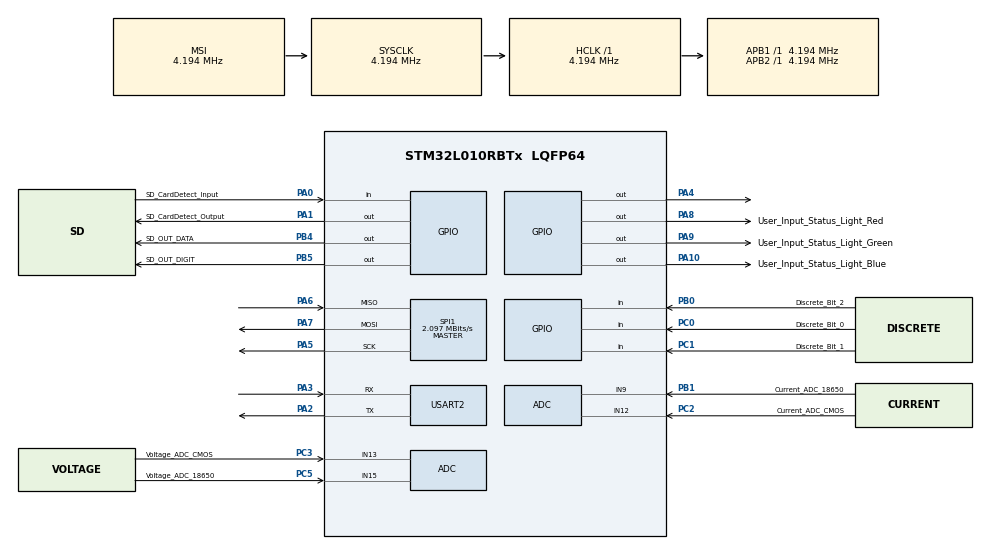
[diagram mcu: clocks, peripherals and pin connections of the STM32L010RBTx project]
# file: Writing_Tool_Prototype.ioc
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ADC.ClockPrescaler=ADC_CLOCK_SYNC_PCLK_DIV4
ADC.ContinuousConvMode=ENABLE
ADC.DiscontinuousConvMode=DISABLE
ADC.EOCSelection=ADC_EOC_SINGLE_CONV
ADC.Overrun=ADC_OVR_DATA_PRESERVED
ADC.OversamplingMode=DISABLE
ADC.SamplingTime=ADC_SAMPLETIME_160CYCLES_5
FATFS._MAX_SS=4096
FATFS._USE_LFN=1
Mcu.Family=STM32L0
Mcu.Name=STM32L010RBTx
Mcu.Package=LQFP64
PA0.GPIO_Label=SD_CardDetect_Input
PA0.Signal=GPIO_Input
PA1.GPIO_Label=SD_CardDetect_Output
PA1.Signal=GPIO_Output
PA10.GPIO_Label=User_Input_Status_Light_Blue
PA10.Signal=GPIO_Output
PA2.Mode=Asynchronous
PA2.Signal=USART2_TX
PA3.Mode=Asynchronous
PA3.Signal=USART2_RX
PA4.Signal=GPIO_Output
PA5.Mode=Full_Duplex_Master
PA5.Signal=SPI1_SCK
PA6.Mode=Full_Duplex_Master
PA6.Signal=SPI1_MISO
PA7.Mode=Full_Duplex_Master
PA7.Signal=SPI1_MOSI
PA8.GPIO_Label=User_Input_Status_Light_Red
PA8.Signal=GPIO_Output
PA9.GPIO_Label=User_Input_Status_Light_Green
PA9.Signal=GPIO_Output
PB0.GPIO_Label=Discrete_Bit_2
PB0.Signal=GPIO_Input
PB1.GPIO_Label=Current_ADC_18650
PB1.Mode=IN9
PB1.Signal=ADC_IN9
PB4.GPIO_Label=SD_OUT_DATA
PB4.Signal=GPIO_Output
PB5.GPIO_Label=SD_OUT_DIGIT
PB5.Signal=GPIO_Output
PC0.GPIO_Label=Discrete_Bit_0
PC0.Signal=GPIO_Input
PC1.GPIO_Label=Discrete_Bit_1
PC1.Signal=GPIO_Input
PC2.GPIO_Label=Current_ADC_CMOS
PC2.Mode=IN12
PC2.Signal=ADC_IN12
PC3.GPIO_Label=Voltage_ADC_CMOS
PC3.Mode=IN13
PC3.Signal=ADC_IN13
PC5.GPIO_Label=Voltage_ADC_18650
PC5.Mode=IN15
PC5.Signal=ADC_IN15
ProjectManager.HeapSize=0x200
ProjectManager.StackSize=0x400
ProjectManager.TargetToolchain=STM32CubeIDE
RCC.AHBFreq_Value=4194000
RCC.APB1Freq_Value=4194000
RCC.APB1TimFreq_Value=4194000
RCC.APB2Freq_Value=4194000
RCC.APB2TimFreq_Value=4194000
RCC.HCLKFreq_Value=4194000
RCC.HSE_VALUE=8000000
RCC.HSI16_VALUE=16000000
RCC.HSI_VALUE=16000000
RCC.LSE_VALUE=32768
RCC.MSIClockRange=RCC_MSIRANGE_6
RCC.MSI_VALUE=4194000
RCC.PLLMUL=RCC_PLLMUL_4
RCC.SYSCLKFreq_VALUE=4194000
RCC.VCOOutputFreq_Value=64000000
SPI1.CalculateBaudRate=2.097 MBits/s
SPI1.Direction=SPI_DIRECTION_2LINES
SPI1.Mode=SPI_MODE_MASTER
SPI1.VirtualType=VM_MASTER
USART2.VirtualMode-Asynchronous=VM_ASYNC
VP_FATFS_VS_Generic.Mode=User_defined
board=custom

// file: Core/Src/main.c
/* USER CODE BEGIN Header */
/**
 ******************************************************************************
 * @file           : main.c
 * @brief          : Main program body
 ******************************************************************************
 * @attention
 *
 * Copyright (c) 2023 STMicroelectronics.
 * All rights reserved.
 *
 * This software is licensed under terms that can be found in the LICENSE file
 * in the root directory of this software component.
 * If no LICENSE file comes with this software, it is provided AS-IS.
 *
 ******************************************************************************
 */
/* USER CODE END Header */
#include "main.h"
#include "fatfs.h"

/* USER CODE BEGIN Includes */
#include <stdbool.h>
#include <stdio.h>
#include <string.h>
/* USER CODE END Includes */

ADC_HandleTypeDef hadc;

SPI_HandleTypeDef hspi1;

UART_HandleTypeDef huart2;

void SystemClock_Config(void);
static void MX_GPIO_Init(void);
static void MX_SPI1_Init(void);
static void MX_ADC_Init(void);
static void MX_USART2_UART_Init(void);
/* USER CODE BEGIN PFP */
void Measurement_of_ADC_Voltage_18650();
void Measurement_of_ADC_Voltage_CMOS();
void Measurement_of_ADC_Current_CMOS();
void Measurement_of_ADC_Current_18650();
void Measurement_of_Load_Voltage();
void process_SD_card(void);
void ADC_Select_Voltage18650();
void ADC_Select_VoltageCMOS();
void ADC_Select_Current18650();
void ADC_Select_CurrentCMOS();
void ADC_Select_Load_Voltage();
void readNumber();
int write_num = 0;
float Convert_Measurement_of_ADC_Voltage_DiffAmp_to_Current_18650(float V_DiffAmp, int state);
float Convert_Measurement_of_ADC_Voltage_DiffAmp_to_Current_CMOS(float V_DiffAmp, int state);
int read_SD(void);
void communicate_value(int number);

float V_18650 = 0.0f;
float V_CMOS = 0.0f;
float V_DiffAmp_18650 = 0.0f;
float V_DiffAmp_CMOS = 0.0f;
float C_CMOS = 0.0f;
float C_18650 = 0.0f;
float Load_Voltage = 0.0f;
int i, j;
unsigned int Switch_State = 0;
float seconds_since_start = 0.0f;
uint32_t start_time_ms = 0;
int valueToAdjust = 0;  // Integer value to be adjusted

/* USER CODE END PFP */

int main(void)
{

  /* MCU Configuration--------------------------------------------------------*/

  /* Reset of all peripherals, Initializes the Flash interface and the Systick. */
  HAL_Init();

  /* Configure the system clock */
  SystemClock_Config();

  /* Initialize all configured peripherals */
  MX_GPIO_Init();
  MX_SPI1_Init();
  MX_FATFS_Init();
  MX_ADC_Init();
  MX_USART2_UART_Init();
  /* USER CODE BEGIN 2 */
  int number = read_SD();
  communicate_value(number);
  HAL_Delay(2000);

   char msg[128];
   start_time_ms = HAL_GetTick();
   HAL_ADCEx_Calibration_Start(&hadc, ADC_SINGLE_ENDED);
  /* USER CODE END 2 */

  /* Infinite loop */
  /* USER CODE BEGIN WHILE */
   while (1) {
      if (HAL_GPIO_ReadPin(SD_CardDetect_Input_GPIO_Port, SD_CardDetect_Input_Pin) == GPIO_PIN_SET) {
         HAL_GPIO_WritePin(SD_CardDetect_Output_GPIO_Port, SD_CardDetect_Output_Pin, GPIO_PIN_SET);
         uint32_t current_time_ms = HAL_GetTick();
         seconds_since_start = (current_time_ms - start_time_ms) / 1000.0f;
         readNumber();
         Measurement_of_ADC_Voltage_18650();
         Measurement_of_ADC_Voltage_CMOS();
         Measurement_of_ADC_Current_CMOS();
         Measurement_of_ADC_Current_18650();
         Measurement_of_Load_Voltage();
         C_CMOS = Convert_Measurement_of_ADC_Voltage_DiffAmp_to_Current_CMOS(V_DiffAmp_CMOS, valueToAdjust);
         C_18650 = Convert_Measurement_of_ADC_Voltage_DiffAmp_to_Current_18650(V_DiffAmp_18650, valueToAdjust);

         process_SD_card();
         sprintf(msg, "%.3f,%.3f,%.5f,%.3f,%.5f,%d,%d\r\n",
             		  seconds_since_start, //time (in seconds)
         			  V_18650,		  // 18650 Voltage
                       C_18650,        // 18650 Current
                       V_CMOS,         // CMOS Voltage
         			  C_CMOS,         // CMOS Current
                       valueToAdjust,  // Threshold

         			  write_num);//Total number of measurements
               HAL_UART_Transmit(&huart2, (uint8_t *)msg, strlen(msg), HAL_MAX_DELAY);
      } else {
         HAL_GPIO_WritePin(SD_CardDetect_Output_GPIO_Port, SD_CardDetect_Output_Pin, GPIO_PIN_RESET);
      }
    /* USER CODE END WHILE */

    /* USER CODE BEGIN 3 */
      write_num++;
   }
  /* USER CODE END 3 */
}

void SystemClock_Config(void)
{
  RCC_OscInitTypeDef RCC_OscInitStruct = {0};
  RCC_ClkInitTypeDef RCC_ClkInitStruct = {0};
  RCC_PeriphCLKInitTypeDef PeriphClkInit = {0};

  /** Configure the main internal regulator output voltage
  */
  __HAL_PWR_VOLTAGESCALING_CONFIG(PWR_REGULATOR_VOLTAGE_SCALE1);

  /** Initializes the RCC Oscillators according to the specified parameters
  * in the RCC_OscInitTypeDef structure.
  */
  RCC_OscInitStruct.OscillatorType = RCC_OSCILLATORTYPE_MSI;
  RCC_OscInitStruct.MSIState = RCC_MSI_ON;
  RCC_OscInitStruct.MSICalibrationValue = 0;
  RCC_OscInitStruct.MSIClockRange = RCC_MSIRANGE_6;
  RCC_OscInitStruct.PLL.PLLState = RCC_PLL_NONE;
  if (HAL_RCC_OscConfig(&RCC_OscInitStruct) != HAL_OK)
  {
    Error_Handler();
  }

  /** Initializes the CPU, AHB and APB buses clocks
  */
  RCC_ClkInitStruct.ClockType = RCC_CLOCKTYPE_HCLK|RCC_CLOCKTYPE_SYSCLK
                              |RCC_CLOCKTYPE_PCLK1|RCC_CLOCKTYPE_PCLK2;
  RCC_ClkInitStruct.SYSCLKSource = RCC_SYSCLKSOURCE_MSI;
  RCC_ClkInitStruct.AHBCLKDivider = RCC_SYSCLK_DIV1;
  RCC_ClkInitStruct.APB1CLKDivider = RCC_HCLK_DIV1;
  RCC_ClkInitStruct.APB2CLKDivider = RCC_HCLK_DIV1;

  if (HAL_RCC_ClockConfig(&RCC_ClkInitStruct, FLASH_LATENCY_0) != HAL_OK)
  {
    Error_Handler();
  }
  PeriphClkInit.PeriphClockSelection = RCC_PERIPHCLK_USART2;
  PeriphClkInit.Usart2ClockSelection = RCC_USART2CLKSOURCE_PCLK1;
  if (HAL_RCCEx_PeriphCLKConfig(&PeriphClkInit) != HAL_OK)
  {
    Error_Handler();
  }
}

static void MX_ADC_Init(void)
{

  ADC_ChannelConfTypeDef sConfig = {0};

  /** Configure the global features of the ADC (Clock, Resolution, Data Alignment and number of conversion)
  */
  hadc.Instance = ADC1;
  hadc.Init.OversamplingMode = DISABLE;
  hadc.Init.ClockPrescaler = ADC_CLOCK_SYNC_PCLK_DIV4;
  hadc.Init.Resolution = ADC_RESOLUTION_12B;
  hadc.Init.SamplingTime = ADC_SAMPLETIME_160CYCLES_5;
  hadc.Init.ScanConvMode = ADC_SCAN_DIRECTION_FORWARD;
  hadc.Init.DataAlign = ADC_DATAALIGN_RIGHT;
  hadc.Init.ContinuousConvMode = ENABLE;
  hadc.Init.DiscontinuousConvMode = DISABLE;
  hadc.Init.ExternalTrigConvEdge = ADC_EXTERNALTRIGCONVEDGE_NONE;
  hadc.Init.ExternalTrigConv = ADC_SOFTWARE_START;
  hadc.Init.DMAContinuousRequests = DISABLE;
  hadc.Init.EOCSelection = ADC_EOC_SINGLE_CONV;
  hadc.Init.Overrun = ADC_OVR_DATA_PRESERVED;
  hadc.Init.LowPowerAutoWait = DISABLE;
  hadc.Init.LowPowerFrequencyMode = ENABLE;
  hadc.Init.LowPowerAutoPowerOff = DISABLE;
  if (HAL_ADC_Init(&hadc) != HAL_OK)
  {
    Error_Handler();
  }

  /** Configure for the selected ADC regular channel to be converted.
  */
  sConfig.Channel = ADC_CHANNEL_9;
  sConfig.Rank = ADC_RANK_CHANNEL_NUMBER;
  if (HAL_ADC_ConfigChannel(&hadc, &sConfig) != HAL_OK)
  {
    Error_Handler();
  }

  /** Configure for the selected ADC regular channel to be converted.
  */
  sConfig.Channel = ADC_CHANNEL_12;
  if (HAL_ADC_ConfigChannel(&hadc, &sConfig) != HAL_OK)
  {
    Error_Handler();
  }

  /** Configure for the selected ADC regular channel to be converted.
  */
  sConfig.Channel = ADC_CHANNEL_13;
  if (HAL_ADC_ConfigChannel(&hadc, &sConfig) != HAL_OK)
  {
    Error_Handler();
  }

  /** Configure for the selected ADC regular channel to be converted.
  */
  sConfig.Channel = ADC_CHANNEL_15;
  if (HAL_ADC_ConfigChannel(&hadc, &sConfig) != HAL_OK)
  {
    Error_Handler();
  }

}

static void MX_SPI1_Init(void)
{

  /* SPI1 parameter configuration*/
  hspi1.Instance = SPI1;
  hspi1.Init.Mode = SPI_MODE_MASTER;
  hspi1.Init.Direction = SPI_DIRECTION_2LINES;
  hspi1.Init.DataSize = SPI_DATASIZE_8BIT;
  hspi1.Init.CLKPolarity = SPI_POLARITY_LOW;
  hspi1.Init.CLKPhase = SPI_PHASE_1EDGE;
  hspi1.Init.NSS = SPI_NSS_SOFT;
  hspi1.Init.BaudRatePrescaler = SPI_BAUDRATEPRESCALER_2;
  hspi1.Init.FirstBit = SPI_FIRSTBIT_MSB;
  hspi1.Init.TIMode = SPI_TIMODE_DISABLE;
  hspi1.Init.CRCCalculation = SPI_CRCCALCULATION_DISABLE;
  hspi1.Init.CRCPolynomial = 7;
  if (HAL_SPI_Init(&hspi1) != HAL_OK)
  {
    Error_Handler();
  }

}

static void MX_USART2_UART_Init(void)
{

  huart2.Instance = USART2;
  huart2.Init.BaudRate = 115200;
  huart2.Init.WordLength = UART_WORDLENGTH_8B;
  huart2.Init.StopBits = UART_STOPBITS_1;
  huart2.Init.Parity = UART_PARITY_NONE;
  huart2.Init.Mode = UART_MODE_TX_RX;
  huart2.Init.HwFlowCtl = UART_HWCONTROL_NONE;
  huart2.Init.OverSampling = UART_OVERSAMPLING_16;
  huart2.Init.OneBitSampling = UART_ONE_BIT_SAMPLE_DISABLE;
  huart2.AdvancedInit.AdvFeatureInit = UART_ADVFEATURE_NO_INIT;
  if (HAL_UART_Init(&huart2) != HAL_OK)
  {
    Error_Handler();
  }

}

static void MX_GPIO_Init(void)
{
  GPIO_InitTypeDef GPIO_InitStruct = {0};

  /* GPIO Ports Clock Enable */
  __HAL_RCC_GPIOC_CLK_ENABLE();
  __HAL_RCC_GPIOA_CLK_ENABLE();
  __HAL_RCC_GPIOB_CLK_ENABLE();

  /*Configure GPIO pin Output Level */
  HAL_GPIO_WritePin(GPIOA, SD_CardDetect_Output_Pin|GPIO_PIN_4|User_Input_Status_Light_Red_Pin|User_Input_Status_Light_Green_Pin
                          |User_Input_Status_Light_Blue_Pin, GPIO_PIN_RESET);

  /*Configure GPIO pin Output Level */
  HAL_GPIO_WritePin(GPIOB, SD_OUT_DATA_Pin|SD_OUT_DIGIT_Pin, GPIO_PIN_RESET);

  /*Configure GPIO pins : Discrete_Bit_0_Pin Discrete_Bit_1_Pin */
  GPIO_InitStruct.Pin = Discrete_Bit_0_Pin|Discrete_Bit_1_Pin;
  GPIO_InitStruct.Mode = GPIO_MODE_INPUT;
  GPIO_InitStruct.Pull = GPIO_NOPULL;
  HAL_GPIO_Init(GPIOC, &GPIO_InitStruct);

  /*Configure GPIO pin : SD_CardDetect_Input_Pin */
  GPIO_InitStruct.Pin = SD_CardDetect_Input_Pin;
  GPIO_InitStruct.Mode = GPIO_MODE_INPUT;
  GPIO_InitStruct.Pull = GPIO_NOPULL;
  HAL_GPIO_Init(SD_CardDetect_Input_GPIO_Port, &GPIO_InitStruct);

  /*Configure GPIO pins : SD_CardDetect_Output_Pin PA4 User_Input_Status_Light_Red_Pin User_Input_Status_Light_Green_Pin
                           User_Input_Status_Light_Blue_Pin */
  GPIO_InitStruct.Pin = SD_CardDetect_Output_Pin|GPIO_PIN_4|User_Input_Status_Light_Red_Pin|User_Input_Status_Light_Green_Pin
                          |User_Input_Status_Light_Blue_Pin;
  GPIO_InitStruct.Mode = GPIO_MODE_OUTPUT_PP;
  GPIO_InitStruct.Pull = GPIO_NOPULL;
  GPIO_InitStruct.Speed = GPIO_SPEED_FREQ_LOW;
  HAL_GPIO_Init(GPIOA, &GPIO_InitStruct);

  /*Configure GPIO pin : Discrete_Bit_2_Pin */
  GPIO_InitStruct.Pin = Discrete_Bit_2_Pin;
  GPIO_InitStruct.Mode = GPIO_MODE_INPUT;
  GPIO_InitStruct.Pull = GPIO_NOPULL;
  HAL_GPIO_Init(Discrete_Bit_2_GPIO_Port, &GPIO_InitStruct);

  /*Configure GPIO pins : SD_OUT_DATA_Pin SD_OUT_DIGIT_Pin */
  GPIO_InitStruct.Pin = SD_OUT_DATA_Pin|SD_OUT_DIGIT_Pin;
  GPIO_InitStruct.Mode = GPIO_MODE_OUTPUT_PP;
  GPIO_InitStruct.Pull = GPIO_NOPULL;
  GPIO_InitStruct.Speed = GPIO_SPEED_FREQ_LOW;
  HAL_GPIO_Init(GPIOB, &GPIO_InitStruct);

}

/* USER CODE BEGIN 4 */
#ifdef __GNUC__
/* With GCC, small printf (option LD Linker->Libraries->Small printf
   set to 'Yes') calls __io_putchar() */
int __io_putchar(int ch)
#else
int fputc(int ch, FILE *f)
#endif /* __GNUC__ */
{
   /* Place your implementation of fputc here */
   /* e.g. write a character to the UART3 and Loop until the end of transmission
    */
   // HAL_UART_Transmit(&huart2, (uint8_t *)&ch, 1, HAL_MAX_DELAY);
   return ch;
}

/*
 * process_SD_card() allows stored values to be written to the SD card using the FAT32 file system under
 * the FATFS library. It does so using the following basic steps:
 * 1) Mount the SD card
 * 2) Create the file or append to it if it already exists
 * 3) Create a string buffer that stores all measurements as comma-separated values
 * 4) Write to the SD card and then close the file
 * 5) Dismount the SD card
 *
 * Note: The ACT light on the SD card breakout board should be flickering if functioning properly. It is
 *       not working properly when the light either stays ON or stays OFF. In that case, check that the
 *       breakout board is correctly wired.
 */
void process_SD_card(void) {
   FATFS FatFs;   // Fatfs handle
   FIL fil;       // File handle
   FRESULT fres;  // Result after operations

   // Buffer for storing the complete string to write
   char writeBuffer[500];  // Adjust the size based on your needs

   // Attempt to mount the SD Card
   fres = f_mount(&FatFs, "", 1);  // 1=mount now
   if (fres != FR_OK) return;      // Exit if fail to mount

   // Open or create the file and append data
   fres = f_open(&fil, "Readings.csv", FA_WRITE | FA_READ | FA_OPEN_APPEND);
   if (fres != FR_OK) {
      f_mount(NULL, "", 0);  // Dismount the SD card if fail to open
      return;                // Exit if fail to open/create the file
   }

   // Prepare the data string
   snprintf(writeBuffer, sizeof(writeBuffer), "%.3f,%.3f,%.5f,%.3f,%.5f,%.3f,%d,%d,\n",
            seconds_since_start,  // Time
            V_18650,              // 18650 Voltage
            C_18650,              // 18650 Current
            V_CMOS,               // CMOS Voltage
            C_CMOS,
			Load_Voltage,// CMOS Current
            valueToAdjust,
			write_num);       // Switch State

   // Write the prepared string to the file
   f_puts(writeBuffer, &fil);

   // Close the file to ensure data is written to the SD card
   f_close(&fil);

   // Dismount the SD card
   f_mount(NULL, "", 0);
}

/*
 * read_SD() checks if there is a custom threshold switching value written on the SD card in "config.txt" and returns
 * the value converted from a String to a integer. If there is no file, this function will return a 0.
 *
 * NOTE: If the file is present, this function will attempt to read regardless of actual content. Assumes the value is
 * given as whole numbers, in mA, and up to four digits (between 0 - 2000 mA) for communicate_vlaue() to function
 * properly.
 *
 * @return an integer that represents the the custom switching threshold value in mA. Will return 0 if file does not
 * exist
 */
int read_SD(void)
{
	FATFS FatFs;   // Fatfs handle
	   FIL fil;       // File handle
	   FRESULT fres;  // Result after operations

	   // Buffer for storing the complete string to read
	   char readBuffer[6];  // Adjust the size based on your needs

	   // Attempt to mount the SD Card
	   fres = f_mount(&FatFs, "", 1);  // 1=mount now
	   if (fres != FR_OK) return 0;      // Exit if fail to mount

	   // Open or create the file and append data
	   fres = f_open(&fil, "config.txt", FA_READ);
	   if (fres != FR_OK)
	   {
	      f_mount(NULL, "", 0);  // Dismount the SD card if fail to open
	      return 0;                // Exit if fail to open the file
	   }

	   f_gets(readBuffer, sizeof(readBuffer), &fil); //store read values to string buffer

	   // Close the file
	   f_close(&fil);

	   // Dismount the SD card
	   f_mount(NULL, "", 0);

	   return atoi(readBuffer);

}//end of read_SD()

/*
 * communicate_value(number) sends the value given by number to be read by the Switching board (typically, read_SD()).
 *  If the number to be sent is greater than zero, it will cycle through each of the decimal places until the number
 *  is complete and/or when it reaches 4 digits. Each cycle will %10 to obtain the last digit of the number. If that
 *  value is greater than 0, then toggle the DATA pin [digit] amount of times. When the decimal "place" is complete,
 *  the DIGIT pin is toggled and the number is now set to number/10 to reduce the number by a factor of 10 and repeats
 *  through the function until either all numbers have been read or the number of decimal "places" read = 4.
 *
 * For example, if the number was 1234:
 *
 * digit = 1234%10 = 4
 * Toggle DATA pin 4 times (DATA pin output: 10101010)
 * Toggle DIGIT pin        (Digit pin output:        10)
 * number = 1234/10 = 123
 * NEXT PLACE! (place = 1)
 *
 * digit = 123%10 = 3
 * Toggle DATA pin 3 times (DATA pin output: 101010)
 * Toggle DIGIT pin        (Digit pin output:      10)
 * number = 123/10 = 12
 * NEXT PLACE! (place = 2)
 *
 * digit = 12%10 = 2
 * Toggle DATA pin 2 times (DATA pin output: 1010)
 * Toggle DIGIT pin        (Digit pin output:    10)
 * number = 12/10 = 1
 * NEXT PLACE! (place = 3)
 *
 * digit = 1%10 = 1
 * Toggle DATA pin 1 times (DATA pin output: 10)
 * Toggle DIGIT pin        (Digit pin output:  10)
 * number = 1/10 = 0
 * Exit (place = 4)
 *
 * Uninterrupted output will look like the following:
 *                   4       3     2   1
 * DATA pin: 1010101000101010001010001000
 * DIGIT pin:0000000010000000100000100010
 *
 * @param: number is an integer that represents the threshold value between 0 - 9999 to be sent from the Writing
 * board to the Switching board (typically obtained from read_SD())
 *
 */
void communicate_value(int number)
{
	int place = 0;

	if(number > 0) //if the given number is greater than zero
	{
		while(place < 4)//while the number of "places" (1's, 10's, 100's, 1000's place) sent out is less than 4 (starting at 0 for a total of 4 digits)
		{
			int digit = number%10; //get the last digit of the given number

			while(digit > 0)
			{
				// Set Red
				HAL_GPIO_WritePin(GPIOB, SD_OUT_DATA_Pin, GPIO_PIN_SET); //Send "1" on data pin
				HAL_Delay(7);
				HAL_GPIO_WritePin(GPIOB, SD_OUT_DATA_Pin, GPIO_PIN_RESET);//Send "0" on data pin
				HAL_Delay(5);
				digit--;
			}//digit finished sending

			// Set Green
			HAL_GPIO_WritePin(GPIOB, SD_OUT_DIGIT_Pin, GPIO_PIN_SET);//Send "1" on digit pin
			HAL_Delay(7);
			HAL_GPIO_WritePin(GPIOB, SD_OUT_DIGIT_Pin, GPIO_PIN_RESET);//Send "0" on digit pin
			HAL_Delay(5);

			number = number/10; //set the number to be a factor of 10 less (if number was 1000, number is now 100)
			place++; //indicates the "place" of the number has increased to the next "place"
		}

	}
	else //otherwise send that the number is 0
	{
		while(place < 4)
		{
			HAL_GPIO_WritePin(GPIOB, SD_OUT_DIGIT_Pin, GPIO_PIN_SET);//Send "1" on digit pin
			HAL_Delay(7);
			HAL_GPIO_WritePin(GPIOB, SD_OUT_DIGIT_Pin, GPIO_PIN_RESET);//Send "0" on digit pin
			HAL_Delay(5);

			place++;
		}
		// Set Blue
				      HAL_GPIO_WritePin(User_Input_Status_Light_Red_GPIO_Port, User_Input_Status_Light_Red_Pin,
				                        GPIO_PIN_RESET);
				      HAL_GPIO_WritePin(User_Input_Status_Light_Green_GPIO_Port, User_Input_Status_Light_Green_Pin,
				                        GPIO_PIN_RESET);
				      HAL_GPIO_WritePin(User_Input_Status_Light_Blue_GPIO_Port, User_Input_Status_Light_Blue_Pin,
				                        GPIO_PIN_SET);
		return;
	}

}

//**************************************** START OF ADC-RELATED FUNCTIONS ****************************************//

/*
 * Measurement_of_ADC functions perform ADC measurements and conversions for each respective channel. This
 * is done with the following steps:
 * 1) Select the respective ADC channel register using CHSELR (uses standard STM bit-masking)
 * 2) Select the respective ADC channel (using the respective ADC_Select function)
 * 3) Start the ADC
 * 4) Read the raw value
 * 5) Convert to respective measurement units and store to respective global variable
 * 6) Stop the ADC
 *
 * NOTE: Some of the ADC channels on the writing board differ from the channels used on the Switching board.
 */

/*
 * Measurement_of_ADC_Voltage_18650() performs an ADC measurement and conversion for the VOLTAGE of the
 * 18650 battery. *Refer to Measurement_of_ADC steps above for more detail on steps*
 *
 * CHSELR is set to 0x8000h (channel 15)
 * Calls ADC_Select_Voltage18650() to set channel
 * Converted values store to V_18650
 */
void Measurement_of_ADC_Voltage_18650() {
   HAL_ADC_Stop(&hadc);
   HAL_ADC_Init(&hadc);
   float V_ref = 3.3;  // This is known for each micro controller from data sheet, V_ref = power supply in
   float ADC_resolution = (4096 - 1);  // 2^12 - 1
   float V_stepSize = V_ref / ADC_resolution;
   // ADC
   /* Start ADC Conversion for ADC1 */
   ADC1->CHSELR = 0x8000;
   ADC_Select_Voltage18650();
   HAL_ADC_Start(&hadc);
   uint16_t rawValue1;
   if (HAL_ADC_PollForConversion(&hadc, HAL_MAX_DELAY) == HAL_OK) {
      /* Read the ADC1 value */
      rawValue1 = HAL_ADC_GetValue(&hadc);
      V_18650 = ((rawValue1 * V_stepSize) * (1/.65));

      // V_18650 = rawValue1;
   }
   HAL_ADC_Stop(&hadc);
}

/*
 * Measurement_of_ADC_Voltage_CMOS() performs an ADC measurement and conversion for the VOLTAGE of the
 * CMOS battery. *Refer to Measurement_of_ADC steps above for more detail on steps*
 *
 * CHSELR is set to 0x2000h (channel 13)
 * Calls ADC_Select_VoltageCMOS() to set channel
 * Converted values store to V_CMOS
 */
void Measurement_of_ADC_Voltage_CMOS() {
   HAL_ADC_Stop(&hadc);
   HAL_ADC_Init(&hadc);
   float V_ref = 3.3;  // This is known for each micro controller from data
   // sheet, V_ref = power supply in
   float ADC_resolution = (4096 - 1);  // 2^12 - 1
   float V_stepSize = V_ref / ADC_resolution;
   // ADC
   /* Start ADC Conversion for ADC1 */
   ADC1->CHSELR = 0x2000;
   ADC_Select_VoltageCMOS();
   HAL_ADC_Start(&hadc);
   uint16_t rawValue2;
   if (HAL_ADC_PollForConversion(&hadc, HAL_MAX_DELAY) == HAL_OK) {
      /* Read the ADC1 value */
      rawValue2 = HAL_ADC_GetValue(&hadc);
      V_CMOS = ((rawValue2 * V_stepSize) * (1/.65));
      // V_CMOS = rawValue2;
   }
   HAL_ADC_Stop(&hadc);
}

/*
 * Measurement_of_ADC_CURRENT_18650() performs an ADC measurement and conversion for the CURRENT of the
 * 18650 battery. *Refer to Measurement_of_ADC steps above for more detail on steps*
 *
 * CHSELR is set to 0x0200h (channel 9)
 * Calls ADC_Select_Current18650() to set channel
 * Converted values store to C_18650
 */
void Measurement_of_ADC_Current_18650() {
   HAL_ADC_Stop(&hadc);
   HAL_ADC_Init(&hadc);
   float V_ref = 3.3;  // This is known for each micro controller from data
   // sheet, V_ref = power supply in
   float ADC_resolution = (4096 - 1);  // 2^12 - 1
   float V_stepSize = V_ref / ADC_resolution;
   // ADC
   /* Start ADC Conversion for ADC1 */
   ADC1->CHSELR = 0x0200;
   ADC_Select_Current18650();
   HAL_ADC_Start(&hadc);
   uint16_t rawValue3;
   if (HAL_ADC_PollForConversion(&hadc, HAL_MAX_DELAY) == HAL_OK) {
      /* Read the ADC1 value */
      rawValue3 = HAL_ADC_GetValue(&hadc);
      V_DiffAmp_18650 = ((rawValue3 * V_stepSize));
      // C_18650 = rawValue3;
      // 50)/.0299562); //I_load = ((V_ADC / 50 gain) / .03 calibrated shunt)
   }
   HAL_ADC_Stop(&hadc);
}

/*
 * Measurement_of_ADC_Current_CMOS() performs an ADC measurement and conversion for the CURRENT of the
 * CMOS battery. *Refer to Measurement_of_ADC steps above for more detail on steps*
 *
 * CHSELR is set to 0x1000h (channel 8)
 * Calls ADC_Select_CurrentCMOS() to set channel
 * Converted values store to C_CMOS
 */
void Measurement_of_ADC_Current_CMOS() {
   HAL_ADC_Stop(&hadc);
   HAL_ADC_Init(&hadc);
   float V_ref = 3.3;  // This is known for each micro controller from data
   // sheet, V_ref = power supply in
   float ADC_resolution = (4096 - 1);  // 2^12 - 1
   float V_stepSize = V_ref / ADC_resolution;
   // ADC
   /* Start ADC Conversion for ADC1 */
   ADC1->CHSELR = 0x1000;
   ADC_Select_CurrentCMOS();
   HAL_ADC_Start(&hadc);
   uint16_t rawValue4;
   if (HAL_ADC_PollForConversion(&hadc, HAL_MAX_DELAY) == HAL_OK) {
      /* Read the ADC1 value */
      rawValue4 = HAL_ADC_GetValue(&hadc);
      V_DiffAmp_CMOS = ((rawValue4 * V_stepSize));
      // C_CMOS = rawValue4;
      /// 20)/4.713492); // I_load = (( V_ADC / 20 Gain ) / 4.71 calibrated shunt
      /// )
   }
   HAL_ADC_Stop(&hadc);
}

void Measurement_of_Load_Voltage() {
   HAL_ADC_Stop(&hadc);
   HAL_ADC_Init(&hadc);
   float V_ref = 3.3;  // This is known for each micro controller from data
   // sheet, V_ref = power supply in
   float ADC_resolution = (4096 - 1);  // 2^12 - 1
   float V_stepSize = V_ref / ADC_resolution;
   // ADC
   /* Start ADC Conversion for ADC1 */
   ADC1->CHSELR = 0x0004;
   ADC_Select_CurrentCMOS();
   HAL_ADC_Start(&hadc);
   uint16_t rawValue5;
   if (HAL_ADC_PollForConversion(&hadc, HAL_MAX_DELAY) == HAL_OK) {
      /* Read the ADC1 value */
      rawValue5 = HAL_ADC_GetValue(&hadc);
      Load_Voltage = ((rawValue5 * V_stepSize) * (1/.65));
      // C_CMOS = rawValue4;
      /// 20)/4.713492); // I_load = (( V_ADC / 20 Gain ) / 4.71 calibrated shunt
      /// )
   }
   HAL_ADC_Stop(&hadc);
}

/*
 * ADC_Select_Voltage18650() selects the channel that relates to the VOLTAGE of the 18650 battery.
 * It sets sConfig to its respective channel (15) and channel rank. It then checks if the channel
 * has been configured correctly.
 */
void ADC_Select_Load_Voltage() {
   ADC_ChannelConfTypeDef sConfig = {0};
   sConfig.Channel = ADC_CHANNEL_2;
   sConfig.Rank = 0;
   if (HAL_ADC_ConfigChannel(&hadc, &sConfig) != HAL_OK) {
      Error_Handler();
   }
}

void ADC_Select_Voltage18650() {
   ADC_ChannelConfTypeDef sConfig = {0};
   sConfig.Channel = ADC_CHANNEL_15;
   sConfig.Rank = 0;
   if (HAL_ADC_ConfigChannel(&hadc, &sConfig) != HAL_OK) {
      Error_Handler();
   }
}

/*
 * ADC_Select_VoltageCMOS() selects the channel that relates to the VOLTAGE of the CMOS battery.
 * It sets sConfig to its respective channel (13) and channel rank. It then checks if the channel
 * has been configured correctly.
 */
void ADC_Select_VoltageCMOS() {
   ADC_ChannelConfTypeDef sConfig = {0};
   sConfig.Channel = ADC_CHANNEL_13;
   sConfig.Rank = 0;
   if (HAL_ADC_ConfigChannel(&hadc, &sConfig) != HAL_OK) {
      Error_Handler();
   }
}

/*
 * ADC_Select_Current18650() selects the channel that relates to the CURRENT of the 18650 battery.
 * It sets sConfig to its respective channel (9) and channel rank. It then checks if the channel
 * has been configured correctly.
 */
void ADC_Select_Current18650() {
   ADC_ChannelConfTypeDef sConfig = {0};
   sConfig.Channel = ADC_CHANNEL_9;
   sConfig.Rank = 0;
   if (HAL_ADC_ConfigChannel(&hadc, &sConfig) != HAL_OK) {
      Error_Handler();
   }
}

/*
 * ADC_Select_CurrentCMOS() selects the channel that relates to the CURRENT of the CMOS battery.
 * It sets sConfig to its respective channel (12) and channel rank. It then checks if the channel
 * has been configured correctly.
 */
void ADC_Select_CurrentCMOS() {
   ADC_ChannelConfTypeDef sConfig = {0};
   sConfig.Channel = ADC_CHANNEL_12;
   sConfig.Rank = 0;
   if (HAL_ADC_ConfigChannel(&hadc, &sConfig) != HAL_OK) {
      Error_Handler();
   }
}

//******************************** START OF BOARD COMMUNICATION FUNCTIONS ********************************//

/*
 * readNumber() reads the inputs from the discrete bits (output from Switching board) and sets the
 * valueToAdjust variable and writing LED color to its respective value and color.
 *
 * It is used to read both threshold input and which state the switching board is in.
 */
void readNumber() {
   if (HAL_GPIO_ReadPin(GPIOC, Discrete_Bit_0_Pin) == 0 && HAL_GPIO_ReadPin(GPIOC, Discrete_Bit_1_Pin) == 0 &&
       HAL_GPIO_ReadPin(GPIOB, Discrete_Bit_2_Pin) == 0) {
      HAL_Delay(5);
      valueToAdjust = 1;
      // Set LED to Off
      HAL_GPIO_WritePin(User_Input_Status_Light_Red_GPIO_Port, User_Input_Status_Light_Red_Pin,
                        GPIO_PIN_RESET);
      HAL_GPIO_WritePin(User_Input_Status_Light_Green_GPIO_Port, User_Input_Status_Light_Green_Pin,
                        GPIO_PIN_RESET);
      HAL_GPIO_WritePin(User_Input_Status_Light_Blue_GPIO_Port, User_Input_Status_Light_Blue_Pin,
                        GPIO_PIN_RESET);
   }

   if (HAL_GPIO_ReadPin(GPIOC, Discrete_Bit_0_Pin) == 1 && HAL_GPIO_ReadPin(GPIOC, Discrete_Bit_1_Pin) == 0 &&
       HAL_GPIO_ReadPin(GPIOB, Discrete_Bit_2_Pin) == 0) {
      HAL_Delay(5);
      valueToAdjust = 2;
      // Set Red
      HAL_GPIO_WritePin(User_Input_Status_Light_Red_GPIO_Port, User_Input_Status_Light_Red_Pin, GPIO_PIN_SET);
      HAL_GPIO_WritePin(User_Input_Status_Light_Green_GPIO_Port, User_Input_Status_Light_Green_Pin,
                        GPIO_PIN_RESET);
      HAL_GPIO_WritePin(User_Input_Status_Light_Blue_GPIO_Port, User_Input_Status_Light_Blue_Pin,
                        GPIO_PIN_RESET);
   }
   if (HAL_GPIO_ReadPin(GPIOC, Discrete_Bit_0_Pin) == 0 && HAL_GPIO_ReadPin(GPIOC, Discrete_Bit_1_Pin) == 1 &&
       HAL_GPIO_ReadPin(GPIOB, Discrete_Bit_2_Pin) == 0) {
      HAL_Delay(5);
      valueToAdjust = 3;
      // Set Yellow
      HAL_GPIO_WritePin(User_Input_Status_Light_Red_GPIO_Port, User_Input_Status_Light_Red_Pin, GPIO_PIN_SET);
      HAL_GPIO_WritePin(User_Input_Status_Light_Green_GPIO_Port, User_Input_Status_Light_Green_Pin,
                        GPIO_PIN_SET);
      HAL_GPIO_WritePin(User_Input_Status_Light_Blue_GPIO_Port, User_Input_Status_Light_Blue_Pin,
                        GPIO_PIN_RESET);
   }
   if (HAL_GPIO_ReadPin(GPIOC, Discrete_Bit_0_Pin) == 1 && HAL_GPIO_ReadPin(GPIOC, Discrete_Bit_1_Pin) == 1 &&
       HAL_GPIO_ReadPin(GPIOB, Discrete_Bit_2_Pin) == 0) {
      HAL_Delay(5);
      valueToAdjust = 4;
      // Set Green
      HAL_GPIO_WritePin(User_Input_Status_Light_Red_GPIO_Port, User_Input_Status_Light_Red_Pin,
                        GPIO_PIN_RESET);
      HAL_GPIO_WritePin(User_Input_Status_Light_Green_GPIO_Port, User_Input_Status_Light_Green_Pin,
                        GPIO_PIN_SET);
      HAL_GPIO_WritePin(User_Input_Status_Light_Blue_GPIO_Port, User_Input_Status_Light_Blue_Pin,
                        GPIO_PIN_RESET);
   }
   if (HAL_GPIO_ReadPin(GPIOC, Discrete_Bit_0_Pin) == 0 && HAL_GPIO_ReadPin(GPIOC, Discrete_Bit_1_Pin) == 0 &&
       HAL_GPIO_ReadPin(GPIOB, Discrete_Bit_2_Pin) == 1) {
      HAL_Delay(5);
      valueToAdjust = 5;
      // Set Cyan
      HAL_GPIO_WritePin(User_Input_Status_Light_Red_GPIO_Port, User_Input_Status_Light_Red_Pin,
                        GPIO_PIN_RESET);
      HAL_GPIO_WritePin(User_Input_Status_Light_Green_GPIO_Port, User_Input_Status_Light_Green_Pin,
                        GPIO_PIN_SET);
      HAL_GPIO_WritePin(User_Input_Status_Light_Blue_GPIO_Port, User_Input_Status_Light_Blue_Pin,
                        GPIO_PIN_SET);
   }
   if (HAL_GPIO_ReadPin(GPIOC, Discrete_Bit_0_Pin) == 1 && HAL_GPIO_ReadPin(GPIOC, Discrete_Bit_1_Pin) == 0 &&
       HAL_GPIO_ReadPin(GPIOB, Discrete_Bit_2_Pin) == 1) {
      HAL_Delay(5);
      valueToAdjust = 6;
      // Set Blue
      HAL_GPIO_WritePin(User_Input_Status_Light_Red_GPIO_Port, User_Input_Status_Light_Red_Pin,
                        GPIO_PIN_RESET);
      HAL_GPIO_WritePin(User_Input_Status_Light_Green_GPIO_Port, User_Input_Status_Light_Green_Pin,
                        GPIO_PIN_RESET);
      HAL_GPIO_WritePin(User_Input_Status_Light_Blue_GPIO_Port, User_Input_Status_Light_Blue_Pin,
                        GPIO_PIN_SET);
   }
   if (HAL_GPIO_ReadPin(GPIOC, Discrete_Bit_0_Pin) == 0 && HAL_GPIO_ReadPin(GPIOC, Discrete_Bit_1_Pin) == 1 &&
       HAL_GPIO_ReadPin(GPIOB, Discrete_Bit_2_Pin) == 1) {
      HAL_Delay(5);
      valueToAdjust = 7;
      // Set Magenta
      HAL_GPIO_WritePin(User_Input_Status_Light_Red_GPIO_Port, User_Input_Status_Light_Red_Pin, GPIO_PIN_SET);
      HAL_GPIO_WritePin(User_Input_Status_Light_Green_GPIO_Port, User_Input_Status_Light_Green_Pin,
                        GPIO_PIN_RESET);
      HAL_GPIO_WritePin(User_Input_Status_Light_Blue_GPIO_Port, User_Input_Status_Light_Blue_Pin,
                        GPIO_PIN_SET);
   }
   if (HAL_GPIO_ReadPin(GPIOC, Discrete_Bit_0_Pin) == 1 && HAL_GPIO_ReadPin(GPIOC, Discrete_Bit_1_Pin) == 1 &&
       HAL_GPIO_ReadPin(GPIOB, Discrete_Bit_2_Pin) == 1) {
      HAL_Delay(5);
      valueToAdjust = 8;
      // Set White
      HAL_GPIO_WritePin(User_Input_Status_Light_Red_GPIO_Port, User_Input_Status_Light_Red_Pin, GPIO_PIN_SET);
      HAL_GPIO_WritePin(User_Input_Status_Light_Green_GPIO_Port, User_Input_Status_Light_Green_Pin,
                        GPIO_PIN_SET);
      HAL_GPIO_WritePin(User_Input_Status_Light_Blue_GPIO_Port, User_Input_Status_Light_Blue_Pin,
                        GPIO_PIN_SET);
   }
}

/*
 * Convert_Measurement_of_ADC_Voltage_DiffAmp_to_Current functions allow the conversion equations for each load
 * switch to be used on the Writing board. This function determines which load switch it has just measured given
 * the voltage at the differential amplifier (V_DiffAmp) and the state (normally given by valueToAdjust) to return
 * a converted float that represents the measured current (in amps).
 *
 * Based on which state the load switch is in will determine the conversion value for the measured current.
 */

/*
 * Convert_Measurement_of_ADC_Voltage_DiffAmp_to_Current_CMOS is used to convert the differential voltage of the
 * "LOW" battery to a current value (in Amps).
 * @param V_DiffAmp is the voltage of the LOW battery at the differential amplifier (typically V_DiffAmp_CMOS)
 * @param state is the state the switching board is in (typically valueToAdjust)
 *
 * @return Converted value representing the current of the LOW battery in Amps
 *
 * NOTE: If the LOW battery is not currently active (the state is not 0-3), then it will return a 0
 */
float Convert_Measurement_of_ADC_Voltage_DiffAmp_to_Current_CMOS(float V_DiffAmp, int state)
{
	switch(state)
	{
	case 1: return (V_DiffAmp/905); break;   //conversion for LS_1
	case 2: return (V_DiffAmp/99.); break;  //conversion for LS_2
	case 3: return (V_DiffAmp/10.4); break;  //conversion for LS_3
	case 4: return (V_DiffAmp/1.22); break; //conversion for LS_4
	default: return 0; break;
	}
}

/*
 * Convert_Measurement_of_ADC_Voltage_DiffAmp_to_Current_18650 is used to convert the differential voltage of the
 * "HIGH" battery to a current value (in Amps).
 * @param V_DiffAmp is the voltage of the HIGH battery at the differential amplifier (typically V_DiffAmp_18650)
 * @param state is the state the switching board is in (typically valueToAdjust)
 *
 * @return Converted value representing the current of the HIGH battery in Amps
 *
 * NOTE: If the HIGH battery is not currently active (the state is not 4-7), then it will return a 0
 */
float Convert_Measurement_of_ADC_Voltage_DiffAmp_to_Current_18650(float V_DiffAmp, int state)
{
	switch(state)
	{
	case 5: return (V_DiffAmp/885); break;   //conversion for LS_5
	case 6: return (V_DiffAmp/98.7); break;   //conversion for LS_6
	case 7: return (V_DiffAmp/11.0); break;  //conversion for LS_7
	case 8: return (V_DiffAmp/1.17); break;  //conversion for LS_8
	default: return 0; break;
	}
}

/* USER CODE END 4 */

void Error_Handler(void)
{
   __disable_irq();
   while (1) {
   }
}

#ifdef  USE_FULL_ASSERT
/**
  * @brief  Reports the name of the source file and the source line number
  *         where the assert_param error has occurred.
  * @param  file: pointer to the source file name
  * @param  line: assert_param error line source number
  * @retval None
  */
void assert_failed(uint8_t *file, uint32_t line)
{
  /* USER CODE BEGIN 6 */
   /* User can add his own implementation to report the file name and line
      number, ex: printf("Wrong parameters value: file %s on line %d\r\n", file,
      line) */
  /* USER CODE END 6 */
}
#endif /* USE_FULL_ASSERT */
